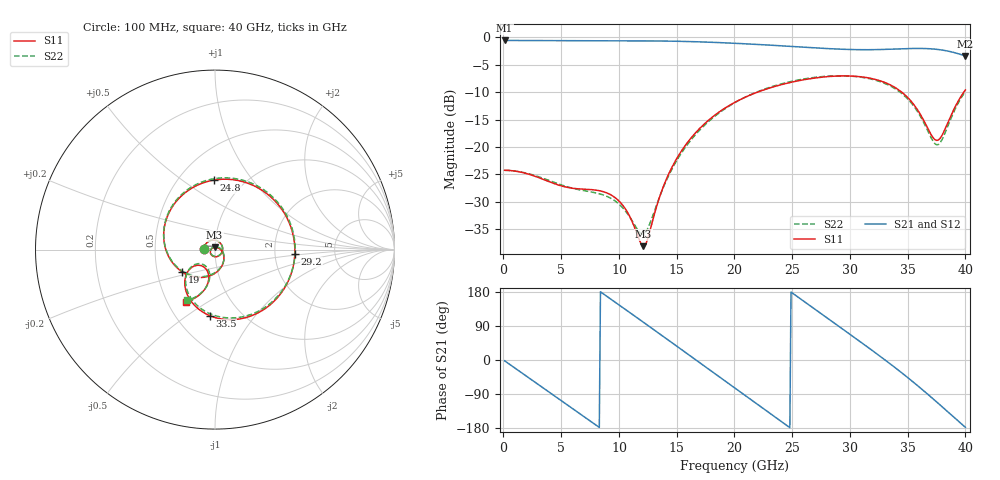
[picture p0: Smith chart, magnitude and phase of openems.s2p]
! C_s8_mixed: L1→L8, antipad Ø1.2 on L2/L7, Ø0.8 on L4/L5
! stackup: 8-layer 1.6 mm FR-4 (generic)
! ports: 1, 2
! openEMS 0.37.0, staircase, fine mesh (dfine 0.0175 mm), 1463868 cells
# Hz S RI R 50
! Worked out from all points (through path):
!   400 points, 100 MHz to 40 GHz, reference 50 ohm
!   highest |S21| = -0.55 dB at 100 MHz (marker M1); lowest = -3.4 dB at 40 GHz (marker M2)
!   group delay of S21, straight-line fit = 61.4 ps
!   lowest |S11| = -38.1 dB at 12.1 GHz (marker M3), VSWR 1.03, Z = 49.8 + j1.22 ohm
!   |S11| at or under -10 dB: start of sweep to 21.97 GHz; 34.5 GHz to 39.86 GHz (5.363 GHz wide, 14.4 % of centre)
!   |S22| runs from -35.9 to -7.0 dB; largest |S21 - S12| = 0.004
!   S11 on the Smith chart (normalised r, x): 100 MHz: 0.88, +0.01; 19 GHz: 0.67, -0.18; 24.8 GHz: 0.73, +0.67; 29.2 GHz: 2.60, -0.15; 33.5 GHz: 0.72, -0.61; 40 GHz: 0.62, -0.40
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1e8  -0.0614 0.00291  0.9377 -0.0351  0.9377 -0.0351  -0.0613 0.00294
1.7e9  -0.04 0.0426  0.754 -0.5575  0.7539 -0.5574  -0.0399 0.0431
3.6e9  0.0122 0.0485  0.2072 -0.9125  0.2072 -0.9125  0.0122 0.0497
5.1e9  0.04 0.0183  -0.3092 -0.8813  -0.3091 -0.8813  0.0401 0.02
6.8e9  0.0333 -0.0246  -0.7704 -0.5248  -0.7705 -0.5249  0.0335 -0.0224
9.3e9  -0.0177 -0.0321  -0.8782 0.3093  -0.8783 0.3094  -0.0173 -0.0294
1.21e10  -0.00214 0.0123  -0.1622 0.9159  -0.1622 0.916  -0.00195 0.016
1.34e10  0.032 -0.00055  0.2913 0.8812  0.2912 0.8815  0.0324 0.00381
1.63e10  0.0126 -0.1223  0.9066 0.1297  0.9074 0.1299  0.0143 -0.1174
1.9e10  -0.1815 -0.1248  0.5605 -0.6969  0.5604 -0.6983  -0.1799 -0.1211
2.01e10  -0.2536 -0.0474  0.2234 -0.8548  0.2222 -0.8558  -0.2527 -0.044
2.22e10  -0.2666 0.1818  -0.4495 -0.7341  -0.4506 -0.7328  -0.2679 0.1853
2.48e10  -0.00472 0.3876  -0.8294 -0.021  -0.8275 -0.0209  -0.00976 0.3943
2.67e10  0.2695 0.3256  -0.6164 0.5198  -0.6164 0.5175  0.2639 0.3381
2.92e10  0.4448 -0.0229  0.0637 0.7785  0.0607 0.7797  0.4468 -0.00434
3.15e10  0.2632 -0.3392  0.6342 0.4412  0.6359 0.4447  0.2729 -0.3253
3.34e10  -0.0172 -0.3727  0.772 -0.1107  0.7759 -0.1114  -0.00831 -0.3648
3.35e10  -0.0304 -0.3675  0.7675 -0.142  0.7714 -0.143  -0.0218 -0.3598
3.54e10  -0.1684 -0.1902  0.4421 -0.6582  0.4424 -0.6613  -0.1637 -0.1834
3.68e10  -0.1124 -0.0904  -0.0261 -0.7894  -0.0273 -0.7914  -0.1091 -0.0819
3.78e10  -0.0489 -0.1095  -0.3678 -0.679  -0.3693 -0.6807  -0.0448 -0.0994
4e10  -0.1617 -0.29  -0.6763 -0.0274  -0.68 -0.0261  -0.1542 -0.283
